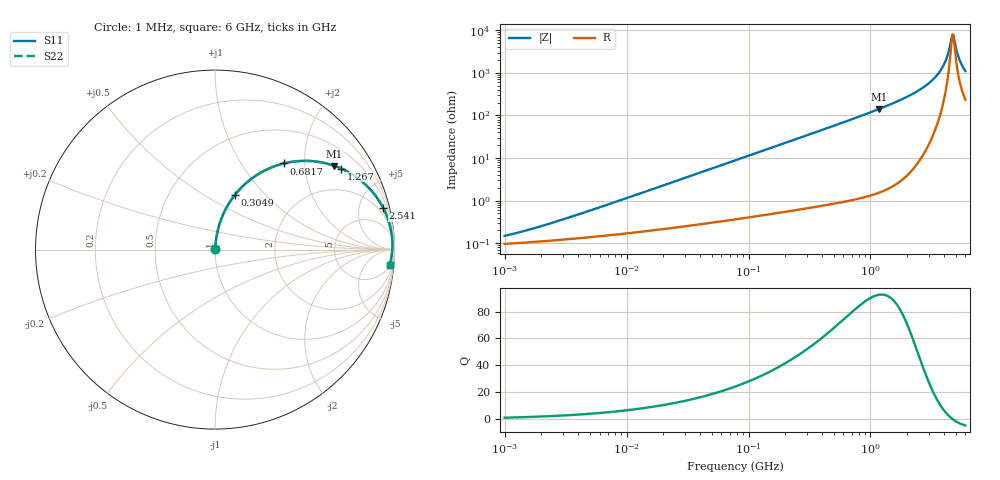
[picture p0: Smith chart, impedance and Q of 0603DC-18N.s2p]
# MHz  S  MA  R  50
!Freq  MagS11  AngS11  MagS21  AngS21  MagS12  AngS12  MagS22  AngS22
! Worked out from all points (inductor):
!   801 points, 1 MHz to 6 GHz, reference 50 ohm
!   read as one part in series: L = 18 nH near 3.307 MHz
!   highest Q = 92.5 at 1.174 GHz (marker M1), where L = 19.2 nH
!   self-resonance near 4.723 GHz
!   S11 on the Smith chart (normalised r, x): 1 MHz: 1.00, +0.00; 304.9 MHz: 1.01, +0.69; 681.7 MHz: 1.02, +1.57; 1.267 GHz: 1.03, +3.09; 2.541 GHz: 1.18, +8.08; 6 GHz: 6, -22
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1  0.001482 49.6  0.999 -0.1  0.999 -0.1  0.001482 49.6
4.293785  0.005027 74.5  0.9987 -0.3  0.9987 -0.3  0.005027 74.5
18.23719  0.02068 83.1  0.9977 -1.2  0.9977 -1.2  0.02068 83.1
78.30659  0.088 82.6  0.9925 -5.0  0.9925 -5.0  0.088 82.6
175.0964  0.1936 77.4  0.9761 -11.2  0.9761 -11.2  0.1936 77.4
304.8839  0.3253 69.9  0.9394 -19.0  0.9394 -19.0  0.3253 69.9
332.5952  0.3515 68.4  0.9298 -20.6  0.9298 -20.6  0.3515 68.4
681.7316  0.6149 51.3  0.7808 -37.9  0.7808 -37.9  0.6149 51.3
1174.216  0.8126 35.0  0.5741 -54.3  0.5741 -54.3  0.8126 35.0
1267.088  0.8352 32.7  0.5409 -56.6  0.5409 -56.6  0.8352 32.7
1412.647  0.8647 29.5  0.4929 -59.8  0.4929 -59.8  0.8647 29.5
2541.317  0.9657 13.8  0.239 -74.9  0.239 -74.9  0.9657 13.8
3193.267  0.9823 8.5  0.1482 -78.9  0.1482 -78.9  0.9823 8.5
3759.029  0.9879 4.9  0.08615 -79.5  0.08615 -79.5  0.9879 4.9
4145.528  0.9889 2.8  0.05011 -75.8  0.05011 -75.8  0.9889 2.8
4329.827  0.9888 1.9  0.03467 -70.3  0.03467 -70.3  0.9888 1.9
4571.766  0.9883 0.7  0.01741 -47.3  0.01741 -47.3  0.9883 0.7
4723.371  0.9877 0.1  0.01237 -4.3  0.01237 -4.3  0.9877 0.1
4880.004  0.9869 -0.6  0.01709 39.6  0.01709 39.6  0.9869 -0.6
5209.023  0.9847 -2.0  0.03788 65.2  0.03788 65.2  0.9847 -2.0
5440.603  0.9829 -2.9  0.05326 69.8  0.05326 69.8  0.9829 -2.9
6000  0.9773 -5.0  0.08868 72.7  0.08868 72.7  0.9773 -5.0
